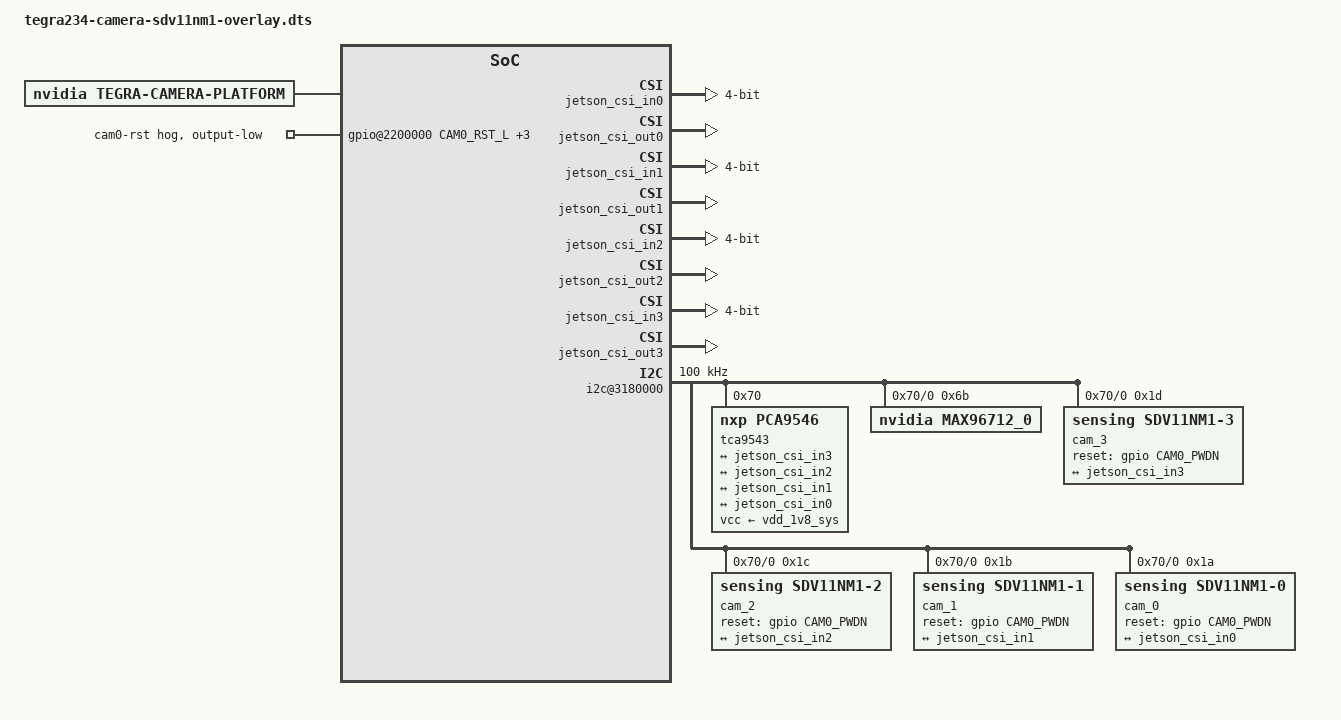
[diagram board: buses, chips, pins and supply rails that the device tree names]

// SPDX-License-Identifier: GPL-2.0-only
// SPDX-FileCopyrightText: Copyright (c) 2018-2023, INTEL CORPORATION.  All rights reserved.

/dts-v1/;
/plugin/;

#include <dt-bindings/clock/tegra234-clock.h>
#include <dt-bindings/gpio/tegra234-gpio.h>
#include <dt-bindings/tegra234-p3737-0000+p3701-0000.h>

/* camera control gpio definitions */
#define CAM0_RST_L	TEGRA234_MAIN_GPIO(H, 3)
#define CAM0_PWDN	TEGRA234_MAIN_GPIO(H, 6)
#define CAM1_RST_L	TEGRA234_MAIN_GPIO(AC, 1)
#define CAM1_PWDN	TEGRA234_MAIN_GPIO(AC, 0)
#define PWR_EN      TEGRA234_MAIN_GPIO(AC, 7)

#define CAMERA_I2C_MUX_BUS(x) (0x1E + x)

/ {
	overlay-name = "Jetson Sensing Camera SDV11NM1";
	jetson-header-name = "Jetson AGX CSI Connector";
	compatible = JETSON_COMPATIBLE;

	fragment@0 {
		target-path = "/";
		__overlay__ {
			tegra-capture-vi {
				num-channels = <4>;
				ports {
					status = "okay";
					port@0 {
						reg = <0>;
						status = "okay";
						jetson_vi_in0: endpoint {
							status = "okay";
							vc-id = <0>;
							port-index = <0>;
							bus-width = <4>;
							remote-endpoint = <&jetson_csi_out0>;
						};
					};
					port@1 {
						reg = <1>;
						status = "okay";
						jetson_vi_in1: endpoint {
							status = "okay";
							vc-id = <1>;
							port-index = <0>;
							bus-width = <4>;
							remote-endpoint = <&jetson_csi_out1>;
						};
					};
					port@2 {
						reg = <2>;
						status = "okay";
						jetson_vi_in2: endpoint {
							status = "okay";
							vc-id = <2>;
							port-index = <0>;
							bus-width = <4>;
							remote-endpoint = <&jetson_csi_out2>;
						};
					};
					port@3 {
						reg = <3>;
						status = "okay";
						jetson_vi_in3: endpoint {
							status = "okay";
							vc-id = <3>;
							port-index = <0>;
							bus-width = <4>;
							remote-endpoint = <&jetson_csi_out3>;
						};
					};
				};
			};
			
			tegra-camera-platform {
				compatible = "nvidia, tegra-camera-platform";

				num_csi_lanes = <16>;
				max_lane_speed = <2500000>;
				min_bits_per_pixel = <16>;
				vi_peak_byte_per_pixel = <2>;
				vi_bw_margin_pct = <25>;
				isp_peak_byte_per_pixel = <5>;
				isp_bw_margin_pct = <25>;

				modules {
					status = "okay";
					module0 {
						status = "okay";
						badge = "cam0_bottomleft";
						position = "bottomleft";
						orientation = "1";
						drivernode0 {
							status = "okay";
							pcl_id = "v4l2_sensor";
							sysfs-device-tree = "/sys/firmware/devicetree/base/bus@0/i2c@3180000/tca9543@70/i2c@0/cam_0@1a";
						};
					};
					module1 {
						status = "okay";
						badge = "cam1_bottomright";
						position = "bottomright";
						orientation = "1";
						drivernode0 {
							status = "okay";
							pcl_id = "v4l2_sensor";
							sysfs-device-tree = "/sys/firmware/devicetree/base/bus@0/i2c@3180000/tca9543@70/i2c@0/cam_1@1b";
						};
					};
					module2 {
						status = "okay";
						badge = "cam2_centerleft";
						position = "centerleft";
						orientation = "1";
						drivernode0 {
							status = "okay";
							pcl_id = "v4l2_sensor";
							sysfs-device-tree = "/sys/firmware/devicetree/base/bus@0/i2c@3180000/tca9543@70/i2c@0/cam_2@1c";
						};
					};
					module3 {
						status = "okay";
						badge = "cam3_centerright";
						position = "centerright";
						orientation = "1";
						drivernode0 {
							status = "okay";
							pcl_id = "v4l2_sensor";
							sysfs-device-tree = "/sys/firmware/devicetree/base/bus@0/i2c@3180000/tca9543@70/i2c@0/cam_3@1d";
						};
					};
				};
			};

			bus@0 {
				/* set camera gpio direction to output */
				gpio@2200000 {
					camera-control-output-low {
						gpio-hog;
						output-low;
						gpios = <CAM0_RST_L 0 CAM0_PWDN 0 CAM1_RST_L 0 CAM1_PWDN 0>;
						label = "cam0-rst", "cam0-pwdn", "cam1-rst", "cam1-pwdn";
					};
				};

				host1x@13e00000 {
					nvcsi@15a00000 {
						num-channels = <4>;
						channel@0 {
							reg = <0>;
							status = "okay";
							ports {
								status = "okay";
								port@0 {
									reg = <0>;
									status = "okay";
									jetson_csi_in0: endpoint@0 {
										status = "okay";
										port-index = <0>;
										bus-width = <4>;
										remote-endpoint = <&cam_csi_out0>;
									};
								};
								port@1 {
									reg = <1>;
									status = "okay";
									jetson_csi_out0: endpoint@1 {
										status = "okay";
										remote-endpoint = <&jetson_vi_in0>;
									};
								};
							};
						};
						channel@1 {
							reg = <1>;
							status = "okay";
							ports {
								status = "okay";
								port@0 {
									reg = <0>;
									status = "okay";
									jetson_csi_in1: endpoint@2 {
										status = "okay";
										port-index = <0>;
										bus-width = <4>;
										remote-endpoint = <&cam_csi_out1>;
									};
								};
								port@1 {
									reg = <1>;
									status = "okay";
									jetson_csi_out1: endpoint@3 {
										status = "okay";
										remote-endpoint = <&jetson_vi_in1>;
									};
								};
							};
						};
						channel@2 {
							reg = <2>;
							status = "okay";
							ports {
								status = "okay";
								port@0 {
									reg = <0>;
									status = "okay";
									jetson_csi_in2: endpoint@4 {
										status = "okay";
										port-index = <0>;
										bus-width = <4>;
										remote-endpoint = <&cam_csi_out2>;
									};
								};
								port@1 {
									reg = <1>;
									status = "okay";
									jetson_csi_out2: endpoint@5 {
										status = "okay";
										remote-endpoint = <&jetson_vi_in2>;
									};
								};
							};
						};
						channel@3 {
							reg = <3>;
							status = "okay";
							ports {
								status = "okay";
								port@0 {
									reg = <0>;
									status = "okay";
									jetson_csi_in3: endpoint@6 {
										status = "okay";
										port-index = <0>;
										bus-width = <4>;
										remote-endpoint = <&cam_csi_out3>;
									};
								};
								port@1 {
									reg = <1>;
									status = "okay";
									jetson_csi_out3: endpoint@7 {
										status = "okay";
										remote-endpoint = <&jetson_vi_in3>;
									};
								};
							};
						};
					};
				};
				i2c@3180000 {
					clock-frequency = <100000>;
					tca9543@70 {
						status = "okay";
						reg = <0x70>;
						compatible = "nxp,pca9546";
						#address-cells = <1>;
						#size-cells = <0>;
						skip_mux_detect = "yes";
						vcc-supply = <&vdd_1v8_sys>;
						force_bus_start = <CAMERA_I2C_MUX_BUS(0)>;

						i2c@0 {
							status = "okay";
							reg = <0>;
							i2c-mux,deselect-on-exit;
							#address-cells = <1>;
							#size-cells = <0>;

							max96712_0@6b {
								compatible = "nvidia,max96712_0";
								reg = <0x6b>;
							};

							cam_3@1d {
								compatible = "sensing,sdv11nm1-3";
								reg = <0x1d>;
								devnode = "video3";

								/* Physical dimensions of sensor */
								physical_w = "15.0";
								physical_h = "12.5";

								sensor_model ="sdv11nm1";

								/* Defines number of frames to be dropped by driver internally after applying */
								/* sensor crop settings. Some sensors send corrupt frames after applying */
								/* crop co-ordinates */
								post_crop_frame_drop = "0";

								/* Convert Gain to unit of dB (decibel) befor passing to kernel driver */
								use_decibel_gain = "false";

								/* enable CID_SENSOR_MODE_ID for sensor modes selection */
								use_sensor_mode_id = "true";

								clocks = <&bpmp TEGRA234_CLK_EXTPERIPH1>,
								<&bpmp TEGRA234_CLK_EXTPERIPH1>;
								clock-names = "extperiph1", "pllp_grtba";
								mclk = "extperiph1";
								der_id = <0>;//
								reset-gpios = <&gpio CAM0_PWDN GPIO_ACTIVE_HIGH>;

								mode0 {/*mode 2592x1944@30fps*/
									mclk_khz = "24000";
									num_lanes = "4";
									tegra_sinterface = "serial_a";
									phy_mode = "DPHY";
									vc_id = "3";
									discontinuous_clk = "no";
									dpcm_enable = "false";
									cil_settletime = "0";
									lane_polarity = "0";
									dynamic_pixel_bit_depth = "10";
									csi_pixel_bit_depth = "10";
									mode_type = "bayer";
									pixel_phase = "bggr";

									active_w = "2592";
									active_h = "1944";
									readout_orientation = "0";
									line_length = "2800";
									inherent_gain = "1";
									pix_clk_hz = "240000000";
									serdes_pix_clk_hz = "600000000";

									gain_factor = "100";
									min_gain_val = "100"; /* dB */
									max_gain_val = "1550"; /* dB */
									step_gain_val = "1"; /* 0.1 */
									default_gain = "100";
									min_hdr_ratio = "1";
									max_hdr_ratio = "1";
									framerate_factor = "1000000";
									min_framerate = "30000000";
									max_framerate = "30000000";
									step_framerate = "1";
									default_framerate = "30000000";
									exposure_factor = "1000000";
									min_exp_time = "100";            /*us, 6 lines  6 * 16.276μs = 97.656 μs */
									max_exp_time = "32844";         /*us, (2048− 30) * 16.276μs = 32844μs */
									step_exp_time = "1";
									default_exp_time = "32844";	/* μs */
									embedded_metadata_height = "0";
								};

								ports {
									#address-cells = <1>;
									#size-cells = <0>;
									port@0 {
										reg = <0>;
										cam_csi_out3: endpoint {
											vc-id = <3>;
											port-index = <0>;
											bus-width = <4>;
											remote-endpoint = <&jetson_csi_in3>;
										};
									};
								};
							};
							cam_2@1c {
								compatible = "sensing,sdv11nm1-2";
								reg = <0x1c>;
								devnode = "video2";

								/* Physical dimensions of sensor */
								physical_w = "15.0";
								physical_h = "12.5";

								sensor_model ="sdv11nm1";

								/* Defines number of frames to be dropped by driver internally after applying */
								/* sensor crop settings. Some sensors send corrupt frames after applying */
								/* crop co-ordinates */
								post_crop_frame_drop = "0";

								/* Convert Gain to unit of dB (decibel) befor passing to kernel driver */
								use_decibel_gain = "false";

								/* enable CID_SENSOR_MODE_ID for sensor modes selection */
								use_sensor_mode_id = "true";

								clocks = <&bpmp TEGRA234_CLK_EXTPERIPH1>,
								<&bpmp TEGRA234_CLK_EXTPERIPH1>;
								clock-names = "extperiph1", "pllp_grtba";
								mclk = "extperiph1";
								der_id = <0>;//
								reset-gpios = <&gpio CAM0_PWDN GPIO_ACTIVE_HIGH>;

								mode0 {/*mode 2592x1944@30fps*/
									mclk_khz = "24000";
									num_lanes = "4";
									tegra_sinterface = "serial_a";
									phy_mode = "DPHY";
									vc_id = "2";
									discontinuous_clk = "no";
									dpcm_enable = "false";
									cil_settletime = "0";
									lane_polarity = "0";
									dynamic_pixel_bit_depth = "10";
									csi_pixel_bit_depth = "10";
									mode_type = "bayer";
									pixel_phase = "bggr";

									active_w = "2592";
									active_h = "1944";
									readout_orientation = "0";
									line_length = "2800";
									inherent_gain = "1";
									pix_clk_hz = "240000000";
									serdes_pix_clk_hz = "600000000";

									gain_factor = "100";
									min_gain_val = "100"; /* dB */
									max_gain_val = "1550"; /* dB */
									step_gain_val = "1"; /* 0.1 */
									default_gain = "100";
									min_hdr_ratio = "1";
									max_hdr_ratio = "1";
									framerate_factor = "1000000";
									min_framerate = "30000000";
									max_framerate = "30000000";
									step_framerate = "1";
									default_framerate = "30000000";
									exposure_factor = "1000000";
									min_exp_time = "100";            /*us, 6 lines  6 * 16.276μs = 97.656 μs */
									max_exp_time = "32844";         /*us, (2048− 30) * 16.276μs = 32844μs */
									step_exp_time = "1";
									default_exp_time = "32844";	/* μs */
									embedded_metadata_height = "0";
								};

								ports {
									#address-cells = <1>;
									#size-cells = <0>;
									port@0 {
										reg = <0>;
										cam_csi_out2: endpoint {
											vc-id = <2>;
											port-index = <0>;
											bus-width = <4>;
											remote-endpoint = <&jetson_csi_in2>;
										};
									};
								};
							};
							cam_1@1b {
								compatible = "sensing,sdv11nm1-1";
								reg = <0x1b>;
								devnode = "video1";

								/* Physical dimensions of sensor */
								physical_w = "15.0";
								physical_h = "12.5";

								sensor_model ="sdv11nm1";

								/* Defines number of frames to be dropped by driver internally after applying */
								/* sensor crop settings. Some sensors send corrupt frames after applying */
								/* crop co-ordinates */
								post_crop_frame_drop = "0";

								/* Convert Gain to unit of dB (decibel) befor passing to kernel driver */
								use_decibel_gain = "false";

								/* enable CID_SENSOR_MODE_ID for sensor modes selection */
								use_sensor_mode_id = "true";

								clocks = <&bpmp TEGRA234_CLK_EXTPERIPH1>,
								<&bpmp TEGRA234_CLK_EXTPERIPH1>;
								clock-names = "extperiph1", "pllp_grtba";
								mclk = "extperiph1";
								der_id = <0>;//
								reset-gpios = <&gpio CAM0_PWDN GPIO_ACTIVE_HIGH>;

								mode0 {/*mode 2592x1944@30fps*/
									mclk_khz = "24000";
									num_lanes = "4";
									tegra_sinterface = "serial_a";
									phy_mode = "DPHY";
									vc_id = "1";
									discontinuous_clk = "no";
									dpcm_enable = "false";
									cil_settletime = "0";
									lane_polarity = "0";
									dynamic_pixel_bit_depth = "10";
									csi_pixel_bit_depth = "10";
									mode_type = "bayer";
									pixel_phase = "bggr";

									active_w = "2592";
									active_h = "1944";
									readout_orientation = "0";
									line_length = "2800";
									inherent_gain = "1";
									pix_clk_hz = "240000000";
									serdes_pix_clk_hz = "600000000";

									gain_factor = "100";
									min_gain_val = "100"; /* dB */
									max_gain_val = "1550"; /* dB */
									step_gain_val = "1"; /* 0.1 */
									default_gain = "100";
									min_hdr_ratio = "1";
									max_hdr_ratio = "1";
									framerate_factor = "1000000";
									min_framerate = "30000000";
									max_framerate = "30000000";
									step_framerate = "1";
									default_framerate = "30000000";
									exposure_factor = "1000000";
									min_exp_time = "100";            /*us, 6 lines  6 * 16.276μs = 97.656 μs */
									max_exp_time = "32844";         /*us, (2048− 30) * 16.276μs = 32844μs */
									step_exp_time = "1";
									default_exp_time = "32844";	/* μs */
									embedded_metadata_height = "0";
								};

								ports {
									#address-cells = <1>;
									#size-cells = <0>;
									port@0 {
										reg = <0>;
										cam_csi_out1: endpoint {
											vc-id = <1>;
											port-index = <0>;
											bus-width = <4>;
											remote-endpoint = <&jetson_csi_in1>;
										};
									};
								};
							};
							cam_0@1a {
								compatible = "sensing,sdv11nm1-0";
								reg = <0x1a>;
								devnode = "video0";

								/* Physical dimensions of sensor */
								physical_w = "15.0";
								physical_h = "12.5";

								sensor_model ="sdv11nm1";

								/* Defines number of frames to be dropped by driver internally after applying */
								/* sensor crop settings. Some sensors send corrupt frames after applying */
								/* crop co-ordinates */
								post_crop_frame_drop = "0";

								/* Convert Gain to unit of dB (decibel) befor passing to kernel driver */
								use_decibel_gain = "false";

								/* enable CID_SENSOR_MODE_ID for sensor modes selection */
								use_sensor_mode_id = "true";

								clocks = <&bpmp TEGRA234_CLK_EXTPERIPH1>,
								<&bpmp TEGRA234_CLK_EXTPERIPH1>;
								clock-names = "extperiph1", "pllp_grtba";
								mclk = "extperiph1";
								der_id = <0>;//
								reset-gpios = <&gpio CAM0_PWDN GPIO_ACTIVE_HIGH>;

								mode0 {/*mode 2592x1944@30fps*/
									mclk_khz = "24000";
									num_lanes = "4";
									tegra_sinterface = "serial_a";
									phy_mode = "DPHY";
									vc_id = "0";
									discontinuous_clk = "no";
									dpcm_enable = "false";
									cil_settletime = "0";
									lane_polarity = "0";
									dynamic_pixel_bit_depth = "10";
									csi_pixel_bit_depth = "10";
									mode_type = "bayer";
									pixel_phase = "bggr";

									active_w = "2592";
									active_h = "1944";
									readout_orientation = "0";
									line_length = "2800";
									inherent_gain = "1";
									pix_clk_hz = "240000000";
									serdes_pix_clk_hz = "600000000";

									gain_factor = "100";
									min_gain_val = "100"; /* dB */
									max_gain_val = "1550"; /* dB */
									step_gain_val = "1"; /* 0.1 */
									default_gain = "100";
									min_hdr_ratio = "1";
									max_hdr_ratio = "1";
									framerate_factor = "1000000";
									min_framerate = "30000000";
									max_framerate = "30000000";
									step_framerate = "1";
									default_framerate = "30000000";
									exposure_factor = "1000000";
									min_exp_time = "100";            /*us, 6 lines  6 * 16.276μs = 97.656 μs */
									max_exp_time = "32844";         /*us, (2048− 30) * 16.276μs = 32844μs */
									step_exp_time = "1";
									default_exp_time = "32844";	/* μs */
									embedded_metadata_height = "0";
								};
								
								ports {
									#address-cells = <1>;
									#size-cells = <0>;
									port@0 {
										reg = <0>;
										cam_csi_out0: endpoint {
											vc-id = <0>;
											port-index = <0>;
											bus-width = <4>;
											remote-endpoint = <&jetson_csi_in0>;
										};
									};
								};
							};
						};
					};
				};
			};
		};
	};
};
